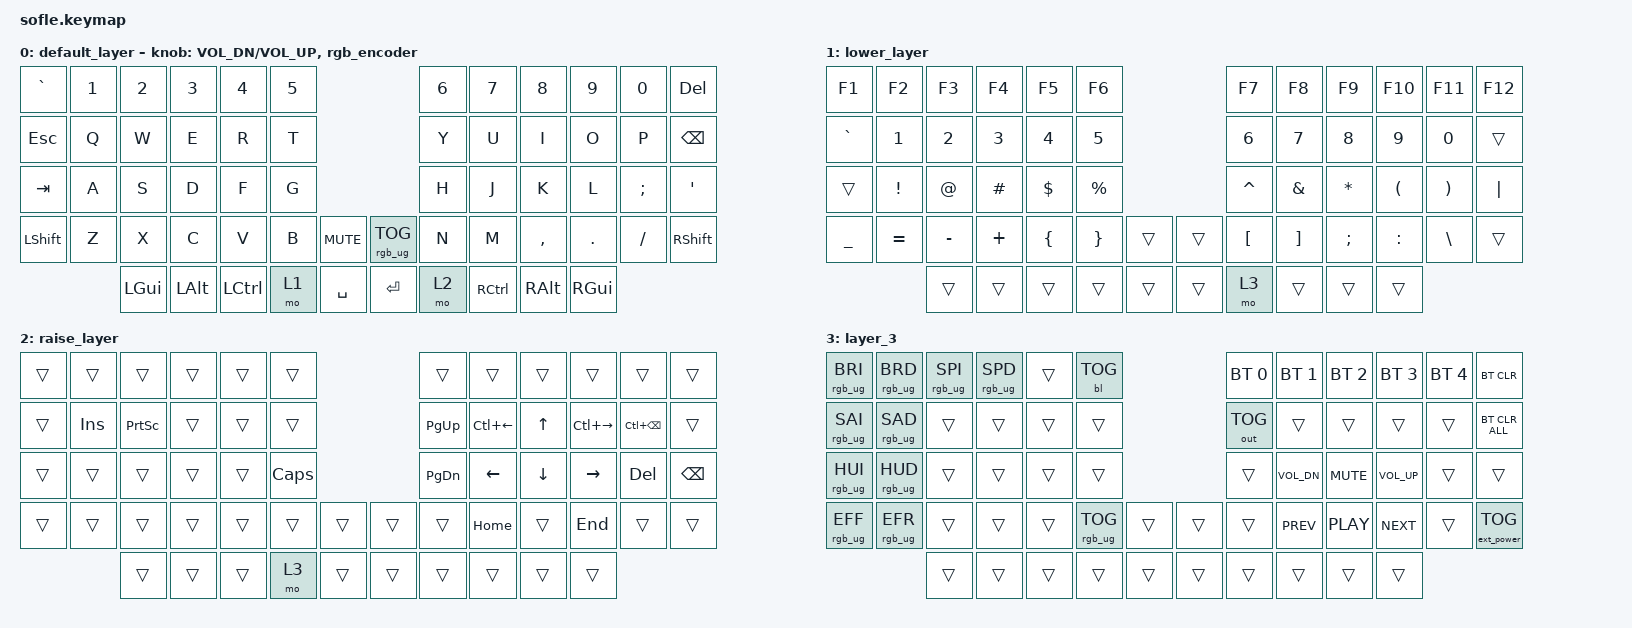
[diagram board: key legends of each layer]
/* Copyright (c) 2020 The ZMK Contributors
 * SPDX-License-Identifier: MIT
 */

#include <behaviors.dtsi>
#include <dt-bindings/zmk/backlight.h>
#include <dt-bindings/zmk/bt.h>
#include <dt-bindings/zmk/ext_power.h>
#include <dt-bindings/zmk/keys.h>
#include <dt-bindings/zmk/outputs.h>
#include <dt-bindings/zmk/rgb.h>

&led_strip { chain-length = <35>; };

&nice_view_spi { cs-gpios = <&pro_micro 0 GPIO_ACTIVE_HIGH>; };

/ {
    behaviors {
        rot_kp: sensor_rotate_kp {
            compatible = "zmk,behavior-sensor-rotate-var";
            #sensor-binding-cells = <2>;
            bindings = <&kp>, <&kp>;
        };

        rgb_encoder: rgb_encoder {
            compatible = "zmk,behavior-sensor-rotate";
            #sensor-binding-cells = <0>;
            bindings = <&rgb_ug RGB_BRI>, <&rgb_ug RGB_BRD>;
        };
    };

    keymap {
        compatible = "zmk,keymap";

        default_layer {
            bindings = <
&kp GRAVE  &kp N1  &kp N2    &kp N3    &kp N4     &kp N5                                 &kp N6  &kp N7     &kp N8     &kp N9    &kp N0    &kp DEL
&kp ESC    &kp Q   &kp W     &kp E     &kp R      &kp T                                  &kp Y   &kp U      &kp I      &kp O     &kp P     &kp BSPC
&kp TAB    &kp A   &kp S     &kp D     &kp F      &kp G                                  &kp H   &kp J      &kp K      &kp L     &kp SEMI  &kp SQT
&kp LSHFT  &kp Z   &kp X     &kp C     &kp V      &kp B   &kp C_MUTE    &rgb_ug RGB_TOG  &kp N   &kp M      &kp COMMA  &kp DOT   &kp FSLH  &kp RSHFT
                   &kp LGUI  &kp LALT  &kp LCTRL  &mo 1   &kp SPACE     &kp RET          &mo 2   &kp RCTRL  &kp RALT   &kp RGUI
            >;

            sensor-bindings = <&rot_kp C_VOL_DN C_VOLUME_UP>, <&rgb_encoder>;
        };

        lower_layer {
            bindings = <
&kp F1     &kp F2     &kp F3     &kp F4    &kp F5    &kp F6                       &kp F7     &kp F8    &kp F9    &kp F10    &kp F11   &kp F12
&kp GRAVE  &kp N1     &kp N2     &kp N3    &kp N4    &kp N5                       &kp N6     &kp N7    &kp N8    &kp N9     &kp N0    &trans
&trans     &kp EXCL   &kp AT     &kp HASH  &kp DLLR  &kp PRCNT                    &kp CARET  &kp AMPS  &kp STAR  &kp LPAR   &kp RPAR  &kp PIPE
&kp UNDER  &kp EQUAL  &kp MINUS  &kp PLUS  &kp LBRC  &kp RBRC   &trans    &trans  &kp LBKT   &kp RBKT  &kp SEMI  &kp COLON  &kp BSLH  &trans
                      &trans     &trans    &trans    &trans     &trans    &trans  &mo 3      &trans    &trans    &trans
            >;
        };

        raise_layer {
            bindings = <
&trans  &trans   &trans           &trans  &trans  &trans                      &trans         &trans              &trans        &trans         &trans             &trans
&trans  &kp INS  &kp PRINTSCREEN  &trans  &trans  &trans                      &kp PG_UP      &kp LC(LEFT_ARROW)  &kp UP_ARROW  &kp LC(RIGHT)  &kp LC(BACKSPACE)  &trans
&trans  &trans   &trans           &trans  &trans  &kp CAPS                    &kp PAGE_DOWN  &kp LEFT            &kp DOWN      &kp RIGHT      &kp DEL            &kp BACKSPACE
&trans  &trans   &trans           &trans  &trans  &trans    &trans    &trans  &trans         &kp HOME            &trans        &kp END        &trans             &trans
                 &trans           &trans  &trans  &mo 3     &trans    &trans  &trans         &trans              &trans        &trans
            >;
        };

        layer_3 {
            bindings = <
&rgb_ug RGB_BRI  &rgb_ug RGB_BRD  &rgb_ug RGB_SPI  &rgb_ug RGB_SPD  &trans  &bl BL_TOG                         &bt BT_SEL 0  &bt BT_SEL 1  &bt BT_SEL 2  &bt BT_SEL 3     &bt BT_SEL 4  &bt BT_CLR
&rgb_ug RGB_SAI  &rgb_ug RGB_SAD  &trans           &trans           &trans  &trans                             &out OUT_TOG  &trans        &trans        &trans           &trans        &bt BT_CLR_ALL
&rgb_ug RGB_HUI  &rgb_ug RGB_HUD  &trans           &trans           &trans  &trans                             &trans        &kp C_VOL_DN  &kp K_MUTE    &kp C_VOLUME_UP  &trans        &trans
&rgb_ug RGB_EFF  &rgb_ug RGB_EFR  &trans           &trans           &trans  &rgb_ug RGB_TOG  &trans    &trans  &trans        &kp C_PREV    &kp C_PLAY    &kp C_NEXT       &trans        &ext_power EP_TOG
                                  &trans           &trans           &trans  &trans           &trans    &trans  &trans        &trans        &trans        &trans
            >;
        };
    };
};
